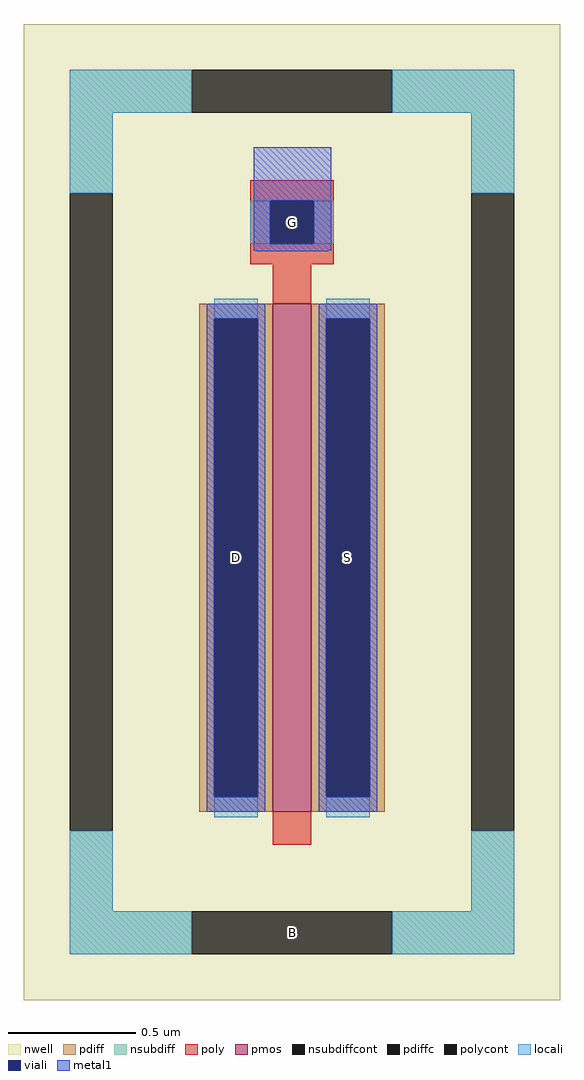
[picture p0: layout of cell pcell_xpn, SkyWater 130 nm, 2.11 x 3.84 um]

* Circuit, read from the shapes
.subckt pcell_xpn B D S G
XM1 S G D B sky130_fd_pr__pfet_01v8 w=2 l=0.15
.ends

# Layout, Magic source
magic
tech sky130A
magscale 1 2
<< nwell >>
rect -211 -384 211 384
<< pmos >>
rect -15 -236 15 164
<< pdiff >>
rect -73 152 -15 164
rect -73 -224 -61 152
rect -27 -224 -15 152
rect -73 -236 -15 -224
rect 15 152 73 164
rect 15 -224 27 152
rect 61 -224 73 152
rect 15 -236 73 -224
<< pdiffc >>
rect -61 -224 -27 152
rect 27 -224 61 152
<< nsubdiff >>
rect -175 314 -79 348
rect 79 314 175 348
rect -175 251 -141 314
rect 141 251 175 314
rect -175 -314 -141 -251
rect 141 -314 175 -251
rect -175 -348 -79 -314
rect 79 -348 175 -314
<< nsubdiffcont >>
rect -79 314 79 348
rect -175 -251 -141 251
rect 141 -251 175 251
rect -79 -348 79 -314
<< poly >>
rect -33 245 33 261
rect -33 211 -17 245
rect 17 211 33 245
rect -33 195 33 211
rect -15 164 15 195
rect -15 -262 15 -236
<< polycont >>
rect -17 211 17 245
<< locali >>
rect -175 314 -79 348
rect 79 314 175 348
rect -175 251 -141 314
rect 141 251 175 314
rect -33 211 -17 245
rect 17 211 33 245
rect -61 152 -27 168
rect -61 -240 -27 -224
rect 27 152 61 168
rect 27 -240 61 -224
rect -175 -314 -141 -251
rect 141 -314 175 -251
rect -175 -348 -79 -314
rect 79 -348 175 -314
<< viali >>
rect -17 211 17 245
rect -61 -224 -27 152
rect 27 -224 61 152
<< metal1 >>
rect -30 245 31 287
rect -30 211 -17 245
rect 17 211 31 245
rect -30 206 31 211
rect -29 205 29 206
rect -67 152 -21 164
rect -67 -224 -61 152
rect -27 -224 -21 152
rect -67 -236 -21 -224
rect 21 152 67 164
rect 21 -224 27 152
rect 61 -224 67 152
rect 21 -236 67 -224
<< labels >>
rlabel nsubdiffcont 0 -331 0 -331 0 B
port 1 nsew
rlabel pdiffc -44 -36 -44 -36 0 D
port 2 nsew
rlabel pdiffc 44 -36 44 -36 0 S
port 3 nsew
rlabel polycont 0 228 0 228 0 G
port 4 nsew
<< end >>
